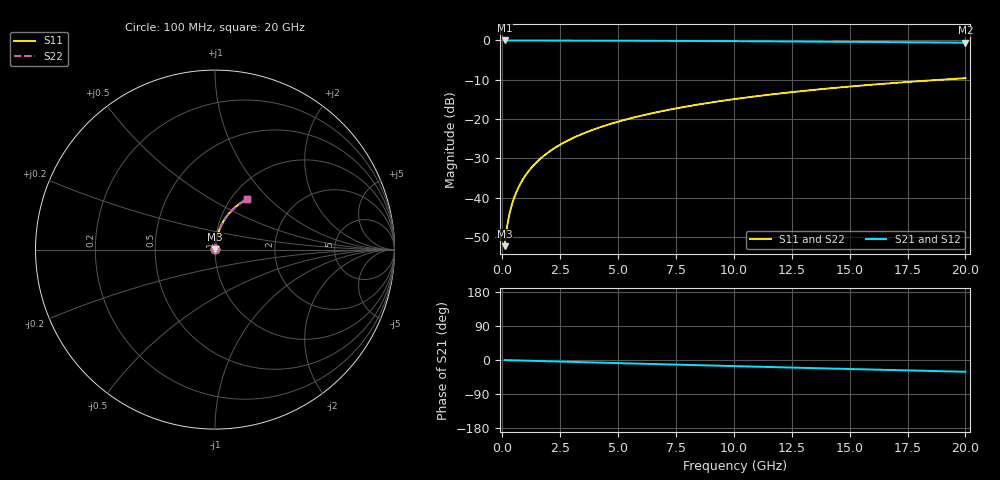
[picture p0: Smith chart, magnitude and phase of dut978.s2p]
! Touchstone file exported from HFSS 2026.1.0
!  File:  C:/ffzhzh/LocalFiles/Ansys_Project_Files/temp_train_TMRDL_978_1783159135_22436.aedt
!  Generated:  06:00:12 PM Jul  4, 2026
!  Design:  TMRDL
!  Project:  temp_train_TMRDL_978_1783159135_22436
! Variables:
!  h_bsmrdl = 2um
!  h_ox = 20um
!  h_rdl = 5um
!  h_sub = 80um
!  h_tmrdl = 5.88um
!  h_tsv = 80um
!  h_via = 3um
!  l_bsmrdl = 300um
!  l_sub = 806um
!  l_tmrdl = 406um
!  m_sub = 200um
!  pitch = 57.17um
!  r_tsv = 6um
!  s_tmrdl = 10um
!  w_bsmrdl = 18um
!  w_sub = 500um
!  w_tmrdl = 19.75um
!  x_tsv_center1 = 415.875um
!  x_tsv_center2 = 733.875um
!  x_tsv_center3 = 1159.625um
!  x_tsv_center4 = 1477.625um
!  x_tsv_center5 = 1903.375um
!  x_tsv_center6 = 2221.375um
# GHz S MA R 50.000000
! Terminal data exported
! Port[1] = TM_RDL1_1_T1
! Port[2] = TM_RDL1_1_T2
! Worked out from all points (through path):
!   200 points, 100 MHz to 20 GHz, reference 50 ohm
!   highest |S21| = -0.01 dB at 100 MHz (marker M1); lowest = -0.6 dB at 20 GHz (marker M2)
!   group delay of S21, straight-line fit = 4.32 ps
!   lowest |S11| = -52.3 dB at 100 MHz (marker M3), VSWR 1.00, Z = 50.1 + j0.2 ohm
!   |S11| at or under -10 dB: start of sweep to 18.93 GHz
!   |S22| runs from -52.3 to -9.6 dB; largest |S21 - S12| = 4.5e-15
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0.1  0.00242 55.6  0.9986 -0.2  0.9986 -0.2  0.00242 55.6
! Gamma 0 0 0 0
! Port Impedance 50 0 50 0
0.2  0.004192 69.7  0.9986 -0.3  0.9986 -0.3  0.004192 69.7
0.3  0.006031 75.2  0.9985 -0.5  0.9985 -0.5  0.006031 75.2
0.4  0.007891 78.2  0.9984 -0.7  0.9984 -0.7  0.007891 78.2
0.5  0.009763 80.0  0.9984 -0.8  0.9984 -0.8  0.009763 80.0
0.7  0.01353 81.9  0.9983 -1.2  0.9983 -1.2  0.01353 81.9
0.8  0.01542 82.5  0.9982 -1.3  0.9982 -1.3  0.01542 82.5
1  0.0192 83.2  0.9981 -1.7  0.9981 -1.7  0.0192 83.2
1.2  0.02297 83.5  0.9979 -2.0  0.9979 -2.0  0.02297 83.5
1.4  0.02674 83.6  0.9978 -2.3  0.9978 -2.3  0.02674 83.6
1.7  0.03238 83.6  0.9975 -2.8  0.9975 -2.8  0.03238 83.6
2  0.03799 83.4  0.9971 -3.3  0.9971 -3.3  0.03799 83.4
2.7  0.05097 82.6  0.9961 -4.5  0.9961 -4.5  0.05097 82.6
3.5  0.06561 81.6  0.9948 -5.8  0.9948 -5.8  0.06561 81.6
4.2  0.07829 80.6  0.9935 -6.9  0.9935 -6.9  0.07829 80.6
5  0.09262 79.4  0.9919 -8.2  0.9919 -8.2  0.09262 79.5
6.8  0.1244 76.8  0.9878 -11.1  0.9878 -11.1  0.1244 76.8
8.3  0.1503 74.6  0.9837 -13.5  0.9837 -13.5  0.1503 74.6
10.1  0.1807 72.0  0.9781 -16.3  0.9781 -16.3  0.1807 72.0
13.4  0.2342 67.1  0.966 -21.4  0.966 -21.4  0.2342 67.1
16.7  0.2844 62.3  0.952 -26.3  0.952 -26.3  0.2844 62.3
20  0.3309 57.6  0.9365 -31.1  0.9365 -31.1  0.3309 57.7
